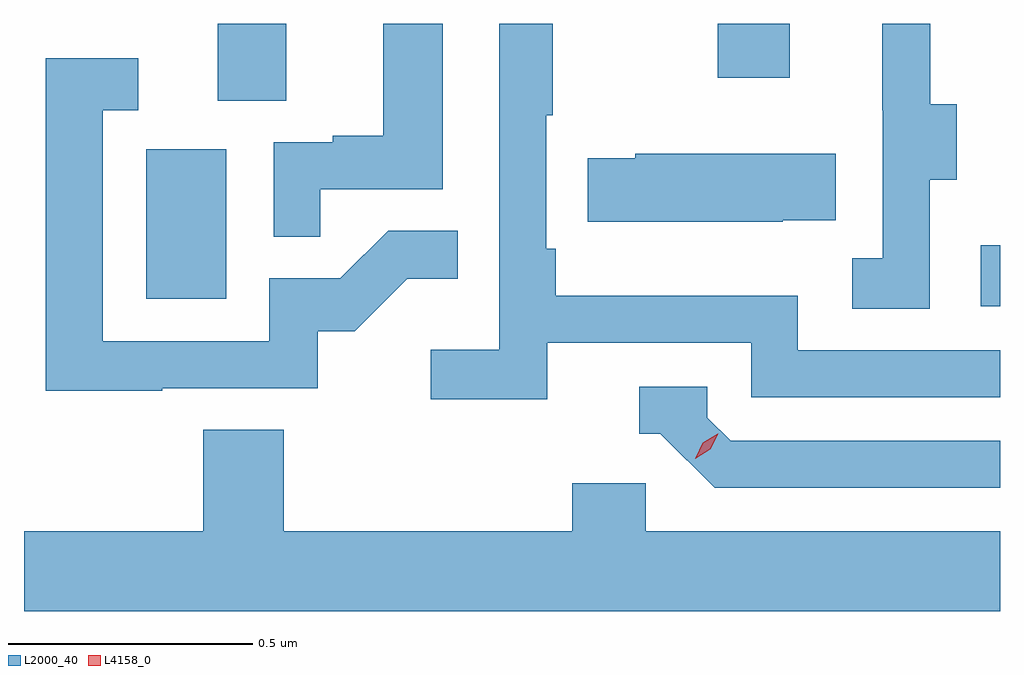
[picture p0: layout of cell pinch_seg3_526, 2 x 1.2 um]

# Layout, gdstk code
import gdstk
lib = gdstk.Library(unit=1e-6, precision=1e-09)
def R(c, l, rs):  # rectangles x0, y0, x1, y1
    for r in rs: c.add(gdstk.rectangle(r[:2], r[2:], *l))
def P(c, l, *ps):  # polygons
    for p in ps: c.add(gdstk.Polygon(p, *l))
L2000_40 = (2000, 40)
L4158_0 = (4158, 0)

pinch_seg3_526 = lib.new_cell('pinch_seg3_526')
R(pinch_seg3_526, L2000_40, [(985.767,682.893,985.806,683.018), (984.056,682.908,984.22,683.215), (984.203,683.314,984.343,683.472), (985.228,683.361,985.375,683.472)])
P(pinch_seg3_526, L2000_40, [(984.413,683.133),(984.664,683.133),(984.664,683.472),(984.542,683.472),(984.542,683.242),(984.439,683.242),(984.439,683.229),(984.318,683.229),(984.318,683.035),(984.413,683.035)],
  [(985.662,683.152),(985.717,683.152),(985.717,683.307),(985.663,683.307),(985.663,683.472),(985.565,683.472),(985.565,683.295),(985.566,683.295),(985.566,682.991),(985.503,682.991),(985.503,682.888),(985.662,682.888)],
  [(984.878,682.818),(985.296,682.818),(985.296,682.707),(985.806,682.707),(985.806,682.803),(985.392,682.803),(985.392,682.915),(984.896,682.915),(984.896,683.011),(984.876,683.011),(984.876,683.284),(984.889,683.284),(984.889,683.472),(984.78,683.472),(984.78,682.804),(984.639,682.804),(984.639,682.702),(984.878,682.702)],
  [(984.089,682.725),(984.408,682.725),(984.408,682.842),(984.484,682.842),(984.591,682.949),(984.695,682.949),(984.695,683.048),(984.552,683.048),(984.454,682.95),(984.309,682.95),(984.309,682.821),(983.967,682.821),(983.967,683.295),(984.04,683.295),(984.04,683.401),(983.851,683.401),(983.851,682.72),(984.089,682.72)],
  [(985.361,683.069),(985.469,683.069),(985.469,683.206),(985.059,683.206),(985.059,683.196),(984.961,683.196),(984.961,683.066),(985.361,683.066)],
  [(985.806,682.617),(985.254,682.617),(985.206,682.665),(985.206,682.728),(985.067,682.728),(985.067,682.632),(985.11,682.632),(985.221,682.521),(985.806,682.521)],
  [(985.806,682.432),(985.08,682.432),(985.08,682.53),(984.929,682.53),(984.929,682.432),(984.338,682.432),(984.338,682.64),(984.173,682.64),(984.173,682.432),(983.806,682.432),(983.806,682.268),(985.806,682.268)])
P(pinch_seg3_526, L4158_0, [(985.181,682.581),(985.181,682.581),(985.197,682.613),(985.228,682.632),(985.229,682.632),(985.229,682.632),(985.212,682.6),(985.181,682.581)])

lib.write_gds('pinch_seg3_526.gds')
